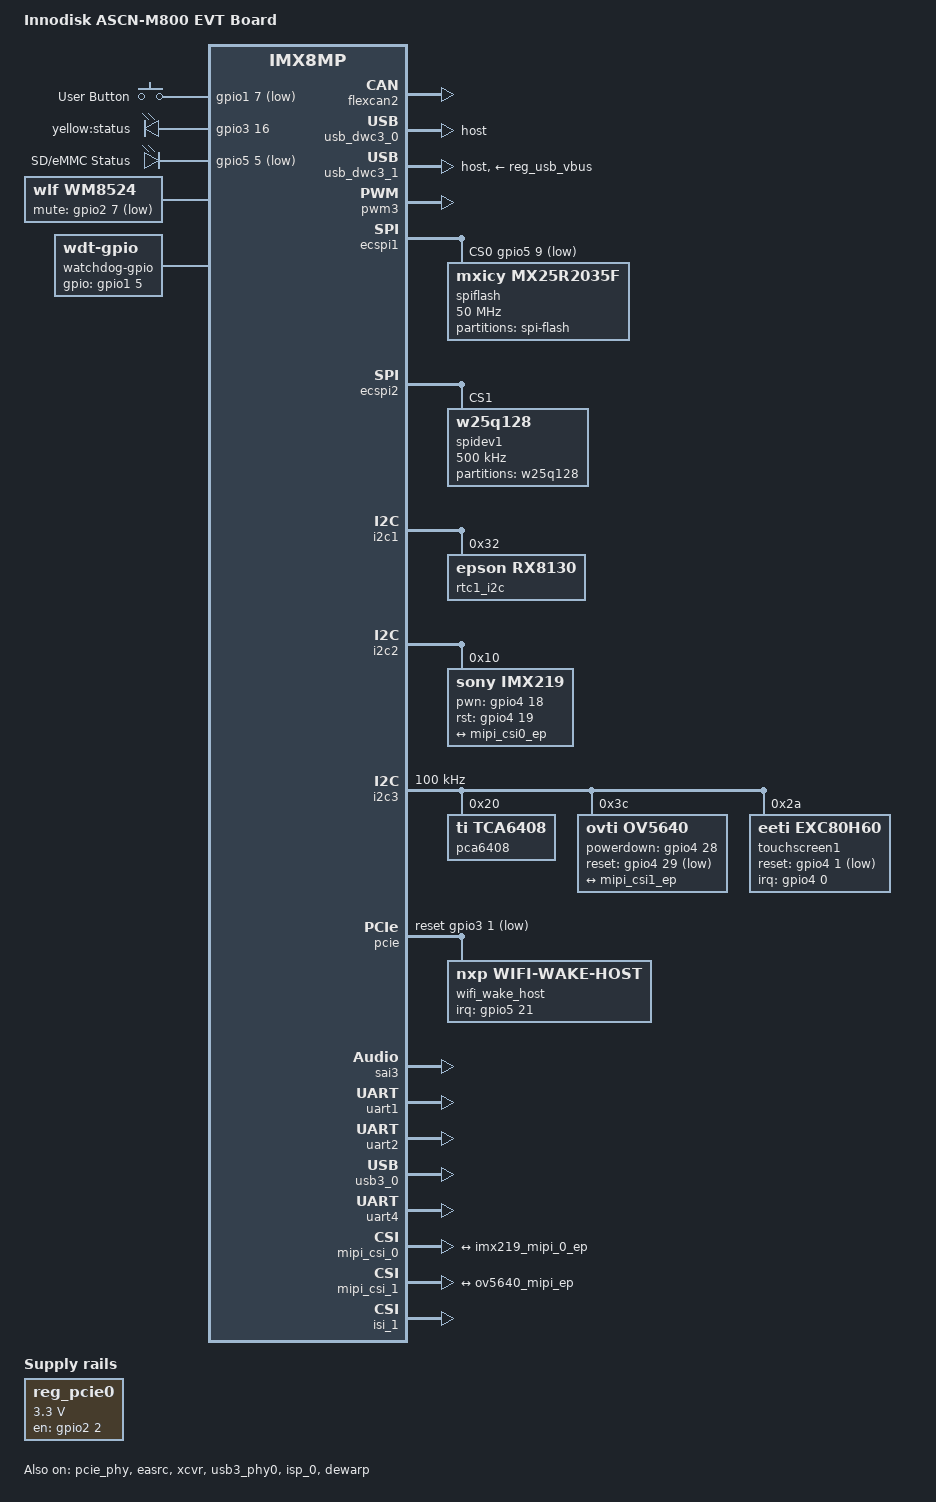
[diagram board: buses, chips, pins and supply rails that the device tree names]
// SPDX-License-Identifier: (GPL-2.0+ OR MIT)

/* Title:    Device Tree for Innodisk ASCN-M800 EVT Custom Board
 * Author:   William Chang
 * Created:  Sep.01.2023, 09:16:15 (UTC+8)
 * Modified: Nov.28.2023, 14:01:33 (UTC+8) 
 */

/dts-v1/;

#include "imx8mp-evk.dts"

/delete-node/&ov5640_0;
// /delete-node/&micfil;
// /delete-node/ &ov5640_1;

/ {
	model = "Innodisk ASCN-M800 EVT Board";
	compatible = "fsl,imx8mp-evk", "fsl,imx8mp";
	// /delete-node/reg_can1_stby;
	// /delete-node/regulator-can1-stby;
	// /delete-node/reg_can2_stby;
	// /delete-node/regulator-can2-stby;
	/delete-node/reg_audio_pwr;
	/delete-node/regulator-audio-pwr;
	/delete-node/sound-bt-sco;
	/delete-node/sound-wm8960;
	/delete-node/sound-micfil;
	/delete-node/cbtl04gp;

	aliases {
		spi1 = &ecspi1;
		spi2 = &ecspi2;
		rtc0 = &snvs_rtc;
		rtc1 = &rtc1_i2c;
		// rtc2 = &rtc2_i2c;
		pwm1 = &pwm1;
		pwm2 = &pwm2;
		pwm3 = &pwm3;
	};

	gpio-keys {
		compatible = "gpio-keys";
		pinctrl-names = "default";
		pinctrl-0 = <&pinctrl_gpio_keys>;

		button-user {
			label = "User Button";
			gpios = <&gpio1 7 GPIO_ACTIVE_LOW>;
			linux,code = <BTN_0>;
			wakeup-source;
		};
	};

	gpio-leds {
		compatible = "gpio-leds";
		pinctrl-names = "default";
		pinctrl-0 = <&pinctrl_gpio_led>;

		status {
			label = "yellow:status";
			gpios = <&gpio3 16 GPIO_ACTIVE_HIGH>;
			
			default-state = "on";
		};

		hdd_led {
			label = "SD/eMMC Status";
            gpios = <&gpio5 5 GPIO_ACTIVE_LOW>;
			linux,default-trigger = "mmc2";
			default-state = "off";
        };
	};

	reg_can1_stby: regulator-can1-stby {
		/delete-property/pinctrl-0;
		/delete-property/gpio;
	};

	reg_can2_stby: regulator-can2-stby {
		/delete-property/pinctrl-0;
		/delete-property/gpio;
	};
	reg_pcie0: regulator-pcie {
		compatible = "regulator-fixed";
		pinctrl-names = "default";
		pinctrl-0 = <&pinctrl_pcie0_reg>;
		regulator-name = "MPCIE_3V3";
		regulator-min-microvolt = <3300000>;
		regulator-max-microvolt = <3300000>;
		gpio = <&gpio2 2 GPIO_ACTIVE_HIGH>;
		enable-active-high;
		regulator-always-on;
	};

	reg_can2_stby: regulator-can2-stby {
		/delete-property/pinctrl-names;
		/delete-property/pinctrl-0;
		/delete-property/gpio;
	};

	reg_usb_vbus: regulator-vbus {
		/delete-property/pinctrl-names;
		/delete-property/pinctrl-0;
		/delete-property/gpio;
	};

	wm8524: wm8524 {
		#sound-dai-cells = <0>;
		compatible = "wlf,wm8524";
		pinctrl-names = "default";
		pinctrl-0 = <&pinctrl_gpio_wlf>;
		wlf,mute-gpios = <&gpio2 7 GPIO_ACTIVE_LOW>; /*Work only with low*/
		clocks = <&clk IMX8MP_CLK_SAI3_ROOT>;
		clock-names = "mclk";
		status = "okay";
	};

	sound-hdmi {
		compatible = "fsl,imx-audio-hdmi";
		model = "audio-hdmi";
		audio-cpu = <&aud2htx>;
		hdmi-out;
		constraint-rate = <44100>,
				<88200>,
				<176400>,
				<32000>,
				<48000>,
				<96000>,
				<192000>;
		status = "okay";
	};

	sound-wm8524 {
		compatible = "fsl,imx-audio-wm8524";
		model = "wm8524-audio";
		audio-cpu = <&sai3>;
		audio-codec = <&wm8524>;
		audio-asrc=	<&easrc>;
		audio-routing =
			"Line Out Jack", "LINEVOUTL",
			"Line Out Jack", "LINEVOUTR";
	};

	

	watchdog-gpio {
		/* TPS3431 */
		pinctrl-names = "default";
		pinctrl-0 = <&pinctrl_watchdog_gpio>;
		compatible = "linux,wdt-gpio";
		// pwms = <&pwm1 0 10 0>;
		always-running;
		gpios =	<&gpio1 5 GPIO_ACTIVE_HIGH>;
		hw_algo = "toggle";
		/* Reset triggers in 2..3 seconds */
		hw_margin_ms = <200>;
		/* Disabled by default */
		status = "okay";
	};
};

&flexspi {
	status = "disabled";
};

&pwm4 {
	status = "disabled";
};

&flexcan2 {
	/delete-property/pinctrl-assert-gpios;
	status = "okay";
};

&sai2 {
	status = "disabled";
};

// &usb3_0 {
// 	fsl,permanently-attached;
// 	status = "okay";
// };

&micfil {
	status = "disabled";
};

&usb_dwc3_0 {
	dr_mode = "host";
	hnp-disable;
	srp-disable;
	adp-disable;
	usb-role-switch;
	role-switch-default-mode = "none";
	snps,dis-u1-entry-quirk;
	snps,dis-u2-entry-quirk;
	status = "okay";

	/delete-node/port;
};

// &usb3_1 {
// 	fsl,permanently-attached;
// 	status = "okay";
// };

&usb_dwc3_1 {
	vbus-supply = <&reg_usb_vbus>;
	dr_mode = "host";
	hnp-disable;
	srp-disable;
	adp-disable;
	usb-role-switch;
	role-switch-default-mode = "none";
	snps,dis-u1-entry-quirk;
	snps,dis-u2-entry-quirk;
	status = "okay";
};

&pwm3 {
	pinctrl-names = "default";
	pinctrl-0 = <&pinctrl_pwm3>;
	status = "okay";
};

&ecspi1 {
	pinctrl-names = "default";
	pinctrl-0 = <&pinctrl_ecspi1>;
	cs-gpios = <&gpio5 9 GPIO_ACTIVE_LOW>;
	status = "okay";

	spiflash: spiflash@0 {
		#address-cells = <1>;
		#size-cells = <1>;
		compatible = "mxicy,mx25r2035f", "jedec,spi-nor";
		spi-max-frequency = <50000000>;
		reg = <0>;
		mode = <1>;

		partition@0{
			reg = <0x0 0x100000>;
			label = "spi-flash";
		};
	};
};

&ecspi2 {
	fsl,spi-num-chipselects = <0>;
	pinctrl-names = "default";
	pinctrl-0 = <&pinctrl_ecspi2>;
	cs-gpios = <&gpio5 13 GPIO_ACTIVE_LOW>;
	status = "okay";

	spidev1: spi@0 {
		#address-cells = <1>;
		#size-cells = <0>;
		reg = <1>;
		compatible = "w25q128", "jedec,spi-nor";
		spi-max-frequency = <500000>;
		mode = <1>;

		partition@0{
			reg = <0x0 0x100000>;
			label = "w25q128";
		};
	};
};

&i2c1 {
	rtc1_i2c: rtc1@32 {
		compatible = "epson,rx8130";
		reg = <0x32>;
	};

	// rtc2_i2c: rtc2@68 {
	// 	compatible = "dallas,ds1337";
	// 	reg = <0x68>;
	// };
};

&i2c2 {
	/delete-node/ov5640_mipi@3c;
	/delete-node/adv_bridge;
	/delete-node/adv7535@3d;
	/delete-node/tcpc@50;
	
	imx219: imx219@10 {
		compatible = "sony,imx219";
		reg = <0x10>;
		pinctrl-names = "default";
		pinctrl-0 = <&pinctrl_csi0_rst> ,<&pinctrl_csi0_pwn>; 
		clocks = <&clk IMX8MP_CLK_IPP_DO_CLKO2>;
		clock-names = "xclk";
		assigned-clocks = <&clk IMX8MP_CLK_IPP_DO_CLKO2>;
		assigned-clock-parents = <&clk IMX8MP_CLK_24M>;
		assigned-clock-rates = <24000000>;
		csi_id = <0>;
		pwn-gpios = <&gpio4 18 GPIO_ACTIVE_HIGH>;
		rst-gpios = <&gpio4 19 GPIO_ACTIVE_HIGH>;
		mclk = <24000000>;
		mclk_source = <0>;
		
		mipi_csi;
		status = "okay";

		port {
			imx219_mipi_0_ep: endpoint {
				remote-endpoint = <&mipi_csi0_ep>;
				data-lanes = <1 2>;
				clock-lanes = <0>;
				clock-noncontinuous;
				link-frequencies = /bits/ 64 <456000000>;
	
			};
		};
	};
};

&i2c3 {
	clock-frequency = <100000>;
	pinctrl-names = "default";
	pinctrl-0 = <&pinctrl_i2c3>;
	status = "okay";

	/delete-node/wm8960@1a;
	/delete-node/pca6416;
	/delete-node/gpio@20;
	/delete-node/ov5640_mipi@3c;

	pca6408: gpio@20 {
		compatible = "ti,tca6408";
		reg = <0x20>;
		gpio-controller;
		#gpio-cells = <2>;
		gpio-line-names = "I2C_GPIO0",
			"I2C_GPIO1",
			"I2C_GPIO2",
			"I2C_GPIO3",
			"I2C_GPIO4",
			"I2C_GPIO5",
			"I2C_GPIO6",
			"I2C_GPIO7";
	};

	ov5640: ov5640_mipi@3c {
		compatible = "ovti,ov5640";
		reg = <0x3c>;
		pinctrl-names = "default";
		pinctrl-0 = <&pinctrl_csi1_pwn>, <&pinctrl_csi1_rst>;
		clocks = <&clk IMX8MP_CLK_IPP_DO_CLKO2>;
		clock-names = "xclk";
		assigned-clocks = <&clk IMX8MP_CLK_IPP_DO_CLKO2>;
		assigned-clock-parents = <&clk IMX8MP_CLK_24M>;
		assigned-clock-rates = <24000000>;
		csi_id = <1>;
		powerdown-gpios = <&gpio4 28 GPIO_ACTIVE_HIGH>;
		reset-gpios = <&gpio4 29 GPIO_ACTIVE_LOW>;
		mclk = <24000000>;
		mclk_source = <0>;
		mipi_csi;
		status = "okay";

		port {
			ov5640_mipi_ep: endpoint {
				remote-endpoint = <&mipi_csi1_ep>;
				data-lanes = <1 2>;
				clock-lanes = <0>;
			};
		};
	};
	

	/* Comment this part for enabling the capacitive touch panel */
	
	// touchscreen0: touchscreen@48 {
	// 	compatible = "ti,tsc2007";
	// 	reg = <0x48>;
	// 	pinctrl-names = "default";
	// 	pinctrl-0 = <&pinctrl_tsc2007>;
	// 	interrupt-parent = <&gpio1>;
	// 	interrupts = <6 IRQ_TYPE_EDGE_FALLING>;
	// 	gpios = <&gpio1 6 GPIO_ACTIVE_LOW>;
	// 	ti,x-plate-ohms = <500>;
	// 	wakeup-source;
	// 	status = "okay";
	// };
	
	/* Uncomment this part for enabling the capacitive touch panel */

	touchscreen1: touchscreen@2a {
		compatible = "eeti,exc80h60";
		pinctrl-names = "default";
		pinctrl-0 = <&pinctrl_ts>;
		reg = <0x2a>;
		interrupt-parent = <&gpio4>;
		interrupts = <0 IRQ_TYPE_EDGE_FALLING>;
		reset-gpio = <&gpio4 1 GPIO_ACTIVE_LOW>;
		status = "okay";
	};
};

/* I2C on expansion connector J22. */
&i2c5 {
	clock-frequency = <100000>; /* Lower clock speed for external bus. */
	pinctrl-names = "default";
	pinctrl-0 = <&pinctrl_i2c5>;
	status = "disabled"; /* can1 pins conflict with i2c5 */

	/* GPIO 2 of PCA6416 is used to switch between CAN1 and I2C5 functions:
	 *     LOW:  CAN1 (default, pull-down)
	 *     HIGH: I2C5
	 * You need to set it to high to enable I2C5 (for example, add gpio-hog
	 * in pca6416 node).
	 */
};

&mipi_dsi {
	status = "disabled";
	/delete-node/port@1;
};

&pcie_phy {
	fsl,refclk-pad-mode = <IMX8_PCIE_REFCLK_PAD_INPUT>;
	clocks = <&pcie0_refclk>;
	clock-names = "ref";
	status = "okay";
};

&pcie {
	pinctrl-names = "default";
	pinctrl-0 = <&pinctrl_pcie0>;
	reset-gpio = <&gpio3 1 GPIO_ACTIVE_LOW>;
	// gpio = <&gpio2 1 GPIO_ACTIVE_HIGH>;
	clocks = <&clk IMX8MP_CLK_HSIO_ROOT>,
		 <&clk IMX8MP_CLK_PCIE_ROOT>,
		 <&clk IMX8MP_CLK_HSIO_AXI>;
	clock-names = "pcie", "pcie_aux", "pcie_bus";
	assigned-clocks = <&clk IMX8MP_CLK_PCIE_AUX>;
	assigned-clock-rates = <10000000>;
	assigned-clock-parents = <&clk IMX8MP_SYS_PLL2_50M>;
	vpcie-supply = <&reg_pcie0>;
	fsl,max-link-speed = <3>;
	status = "okay";

	wifi_wake_host {
		compatible = "nxp,wifi-wake-host";
		interrupt-parent = <&gpio5>;
		interrupts = <21 IRQ_TYPE_LEVEL_LOW>;
		interrupt-names = "host-wake";
	};
};

&pcie_ep{
	pinctrl-names = "default";
	pinctrl-0 = <&pinctrl_pcie0>;
	clocks = <&clk IMX8MP_CLK_HSIO_ROOT>,
		 <&clk IMX8MP_CLK_PCIE_ROOT>,
		 <&clk IMX8MP_CLK_HSIO_AXI>;
	clock-names = "pcie", "pcie_aux", "pcie_bus";
	assigned-clocks = <&clk IMX8MP_CLK_HSIO_AXI>,
			  <&clk IMX8MP_CLK_PCIE_AUX>;
	assigned-clock-rates = <500000000>, <10000000>;
	assigned-clock-parents = <&clk IMX8MP_SYS_PLL2_500M>,
				 <&clk IMX8MP_SYS_PLL2_50M>;
	status = "disabled";
};

&easrc {
	#sound-dai-cells = <0>;
	fsl,asrc-rate  = <48000>;
	status = "okay";
};



&sai3 {
	#sound-dai-cells = <0>;
	pinctrl-names = "default";
	pinctrl-0 = <&pinctrl_sai3>;
	assigned-clocks = <&clk IMX8MP_CLK_SAI3>;
	assigned-clock-parents = <&clk IMX8MP_AUDIO_PLL1_OUT>;
	assigned-clock-rates = <24576000>;
	fsl,sai-mclk-direction-output;
	fsl,sai-asynchronous;
	status = "okay";
};

&xcvr {
	#sound-dai-cells = <0>;
	status = "okay";
};

&sdma2 {
	status = "okay";
};

&uart1 {
	pinctrl-names = "default";
	pinctrl-0 = <&pinctrl_uart1>;
	assigned-clocks = <&clk IMX8MP_CLK_UART1>;
	assigned-clock-parents = <&clk IMX8MP_SYS_PLL1_80M>;
	fsl,uart-has-rtscts;
	status = "okay";
	/delete-node/bluetooth;
	
};

&uart2 {
	/* console */
	pinctrl-names = "default";
	pinctrl-0 = <&pinctrl_uart2>;
	status = "okay";
};

&usb3_phy0 {
	fsl,phy-tx-vref-tune = <0xe>;
	fsl,phy-tx-preemp-amp-tune = <3>;
	fsl,phy-tx-vboost-level = <5>;
	fsl,phy-comp-dis-tune = <7>;
	fsl,pcs-tx-deemph-3p5db = <0x21>;
	fsl,phy-pcs-tx-swing-full = <0x7f>;
	status = "okay";
};

&usb3_0 {
	status = "okay";
};

&uart4 {
	/* console */
	pinctrl-names = "default";
	pinctrl-0 = <&pinctrl_uart4>;
	status = "okay";
};

&gpio1 {
	pinctrl-names = "default";
	pinctrl-0 = <&pinctrl_gpio1>;
	
	status = "okay";
	gpio-line-names = "WDOG_SET", "", "", "",
			  "", "WDOG_EN", "", "User_Button",
			  "EXP_GPIO3", "", "", "",
			  "", "", "EXP_GPIO8", "EXP_GPIO9",
			  "", "", "", "",
			  "", "", "", "",
			  "", "", "", "",
			  "", "", "", "";
};

&gpio3 {
	pinctrl-names = "default";
	pinctrl-0 = <&pinctrl_gpio3>;
	status = "okay";
	gpio-line-names = "", "", "", "",
			  "", "", "", "",
			  "", "", "", "",
			  "", "", "", "",
			  "", "", "", "",
			  "", "EXP_GPIO4", "EXP_GPIO5", "EXP_GPIO6",
			  "EXP_GPIO7", "", "", "",
			  "", "", "", "";
};

&gpio4 {
	pinctrl-names = "default";
	pinctrl-0 = <&pinctrl_gpio4>;
	status = "okay";
	gpio-line-names = "", "", "", "",
			  "", "", "", "",
			  "", "", "", "",
			  "", "", "", "",
			  "", "", "", "",
			  "", "", "", "EXP_GPIO2",
			  "EXP_GPIO0", "EXP_GPIO1", "", "",
			  "", "", "EXP_GPIO10", "";
};

&gpio5 {
	pinctrl-names = "default";
	pinctrl-0 = <&pinctrl_gpio5>;
	status = "okay";
	gpio-line-names = "", "", "", "",
			  "", "", "", "",
			  "", "", "", "",
			  "", "", "", "",
			  "", "", "", "",
			  "", "", "", "",
			  "EXP_GPIO11", "", "", "",
			  "", "", "", "";
	
	gpios = <&gpio5 24 GPIO_ACTIVE_HIGH>;
	enable-active-high;
};

&iomuxc {
	pinctrl-names = "default";
	pinctrl-0 = <&pinctrl_hog>;
	/delete-node/pinctrl_sai3;
	/delete-node/sai3grp;
	// /delete-node/pinctrl_flexcan2;
	// /delete-node/flexcan2grp;
	pinctrl_hog: hoggrp {
		fsl,pins = <
			MX8MP_IOMUXC_HDMI_DDC_SCL__HDMIMIX_HDMI_SCL	0x400001c2
			MX8MP_IOMUXC_HDMI_DDC_SDA__HDMIMIX_HDMI_SDA	0x400001c2
			MX8MP_IOMUXC_HDMI_HPD__HDMIMIX_HDMI_HPD		0x40000010
			MX8MP_IOMUXC_HDMI_CEC__HDMIMIX_HDMI_CEC		0x40000010
			/*
			 * M.2 pin20 & pin21 need to be set to 11 for 88W9098 to select the
			 * default Reference Clock Frequency
			 */
			
		>;
	};

	pinctrl_pwm2: pwm2grp {
		fsl,pins = <
			MX8MP_IOMUXC_GPIO1_IO09__PWM2_OUT		0x116
		>;
	};

	pinctrl_pwm3: pwm3grp {
		fsl,pins = <
			MX8MP_IOMUXC_GPIO1_IO10__PWM3_OUT		0x116
		>;
	};
	
	pinctrl_gpio1: gpio1grp {
		fsl,pins = <
			MX8MP_IOMUXC_GPIO1_IO00__GPIO1_IO00 	0x116
			MX8MP_IOMUXC_GPIO1_IO11__GPIO1_IO11		0x116
			MX8MP_IOMUXC_GPIO1_IO12__GPIO1_IO12		0x146
		>;
	};

    pinctrl_ecspi1: ecspi1grp {
		fsl,pins = <
			MX8MP_IOMUXC_ECSPI1_SCLK__ECSPI1_SCLK		0x10
			MX8MP_IOMUXC_ECSPI1_MOSI__ECSPI1_MOSI		0x10
			MX8MP_IOMUXC_ECSPI1_MISO__ECSPI1_MISO		0x10
		>;
	};

	pinctrl_ecspi1_cs: ecspi1cs {
		fsl,pins = <
			MX8MP_IOMUXC_ECSPI1_SS0__GPIO5_IO09			0x10
		>;
	};

	pinctrl_ecspi2_cs: ecspi2cs {
		fsl,pins = <
			MX8MP_IOMUXC_ECSPI2_SS0__GPIO5_IO13			0x40000
		>;
	};

	// pinctrl_flexcan1: flexcan1grp {
	// 	fsl,pins = <
	// 		MX8MP_IOMUXC_SAI2_TXD0__CAN2_TX        		0x154
	// 		MX8MP_IOMUXC_SAI2_MCLK__CAN2_RX        		0x154
	// 	>;
	// };
	pinctrl_flexcan2: flexcan2grp {
		fsl,pins = <
			MX8MP_IOMUXC_SAI2_TXD0__CAN2_TX        		0x154
			MX8MP_IOMUXC_SAI2_MCLK__CAN2_RX        		0x154
		>;
	};

	pinctrl_gpio_keys: gpio-keysgrp {
		fsl,pins = <
			MX8MP_IOMUXC_GPIO1_IO07__GPIO1_IO07 		0x140
		>;
	};

	// pinctrl_usr_btn: usrbtngrp {
	// 	fsl,pins = <
	// 		MX8MP_IOMUXC_GPIO1_IO07__GPIO1_IO07 	0x140
	// 	>;
	// };

	pinctrl_gpio_led: gpioledgrp {
		fsl,pins = <
			MX8MP_IOMUXC_NAND_READY_B__GPIO3_IO16	0x140
			MX8MP_IOMUXC_SPDIF_EXT_CLK__GPIO5_IO05 	0x140
		>;
	};

	pinctrl_i2c1: i2c1grp {
		fsl,pins = <
			MX8MP_IOMUXC_I2C1_SCL__I2C1_SCL			0x400001c6
			MX8MP_IOMUXC_I2C1_SDA__I2C1_SDA			0x400001c6
		>;
	};

	pinctrl_i2c3: i2c3grp {
		fsl,pins = <
			MX8MP_IOMUXC_I2C3_SCL__I2C3_SCL			0x400001c2
			MX8MP_IOMUXC_I2C3_SDA__I2C3_SDA			0x400001c2
		>;
	};

	// pinctrl_lvds0_reg: lvds0reggrp {
	// 	fsl,pins = <
	// 		MX8MP_IOMUXC_GPIO1_IO13__GPIO1_IO13		0x40
	// 	>;
	// };

	pinctrl_pcie0: pcie0grp {
		fsl,pins = <
			MX8MP_IOMUXC_I2C4_SCL__PCIE_CLKREQ_B	0x60 /* open drain, pull up */
			/*
			MX8MP_IOMUXC_SD1_CMD__GPIO2_IO01       	0x40
			*/
			MX8MP_IOMUXC_I2C4_SDA__GPIO5_IO21		0x1c4
			MX8MP_IOMUXC_NAND_CE0_B__GPIO3_IO01		0x1c0
		>;
	};

	pinctrl_pcie0_reg: pcie0reggrp {
		fsl,pins = <
			MX8MP_IOMUXC_SD1_DATA0__GPIO2_IO02	0x40
		>;
	};

	pinctrl_pmic: pmicgrp {
		fsl,pins = <
			MX8MP_IOMUXC_GPIO1_IO03__GPIO1_IO03	0x000001c0
		>;
	};
	pinctrl_gpio_wlf: gpiowlfgrp {
		fsl,pins = <
			MX8MP_IOMUXC_SD1_DATA5__GPIO2_IO07				0xd6
		>;
	};
	
	pinctrl_sai3: sai3grp {
		fsl,pins = <
			MX8MP_IOMUXC_SAI3_TXFS__AUDIOMIX_SAI3_TX_SYNC	0xd6
			MX8MP_IOMUXC_SAI3_TXC__AUDIOMIX_SAI3_TX_BCLK	0xd6
			MX8MP_IOMUXC_SAI3_TXD__AUDIOMIX_SAI3_TX_DATA00	0xd6
			MX8MP_IOMUXC_SAI3_MCLK__AUDIOMIX_SAI3_MCLK		0xd6
		>;
	};

	pinctrl_i2c2_synaptics_dsx_io: synaptics_dsx_iogrp {
		fsl,pins = <
			MX8MP_IOMUXC_SD2_WP__GPIO2_IO20		0x16
		>;
	};

	pinctrl_tsc2007: tsc2007grp {
		fsl,pins = <
		MX8MP_IOMUXC_GPIO1_IO06__GPIO1_IO06 0x10 /* Interrupt */
		>;
  	};

	pinctrl_ts: tsgrp {
		fsl,pins = <
			MX8MP_IOMUXC_SAI1_RXFS__GPIO4_IO00		0x16
			MX8MP_IOMUXC_SAI1_RXC__GPIO4_IO01 		0x10
		>;
	};

	pinctrl_uart1: uart1grp {
		fsl,pins = <
			MX8MP_IOMUXC_UART1_RXD__UART1_DCE_RX	0x140
			MX8MP_IOMUXC_UART1_TXD__UART1_DCE_TX	0x140
			MX8MP_IOMUXC_UART3_RXD__UART1_DCE_CTS	0x140
			MX8MP_IOMUXC_UART3_TXD__UART1_DCE_RTS	0x140
		>;
	};

	pinctrl_uart2: uart2grp {
		fsl,pins = <
			MX8MP_IOMUXC_SD1_DATA3__UART2_DCE_RX	0x140
			MX8MP_IOMUXC_SD1_DATA2__UART2_DCE_TX	0x140
		>;
	};

	pinctrl_uart3: uart3grp {
		fsl,pins = <
			MX8MP_IOMUXC_SD1_DATA6__UART3_DCE_TX		0x140
			MX8MP_IOMUXC_SD1_DATA7__UART3_DCE_RX 		0x140
			MX8MP_IOMUXC_SD1_RESET_B__UART3_DCE_RTS		0x140
			MX8MP_IOMUXC_SD1_STROBE__UART3_DCE_CTS		0x140
		>;
	};

	pinctrl_uart4: uart4grp {
		fsl,pins = <
			MX8MP_IOMUXC_UART4_RXD__UART4_DCE_RX	0x140
			MX8MP_IOMUXC_UART4_TXD__UART4_DCE_TX	0x140
		>;
	};

	pinctrl_csi0_pwn: csi0_pwn_grp {
		fsl,pins = <
			MX8MP_IOMUXC_SAI1_TXD6__GPIO4_IO18		0x10
		>;
	};

	pinctrl_csi0_rst: csi0_rst_grp {
		fsl,pins = <	
			MX8MP_IOMUXC_SAI1_TXD7__GPIO4_IO19		0x10
		>;
	};

	pinctrl_csi1_pwn: csi1_pwn_grp {
		fsl,pins = <
			MX8MP_IOMUXC_SAI3_RXFS__GPIO4_IO28		0x10
		>;
	};

	pinctrl_csi1_rst: csi1_rst_grp {
		fsl,pins = <
			
			MX8MP_IOMUXC_SAI3_RXC__GPIO4_IO29		0x10
		>;
	};
	
	pinctrl_csi_mclk: csi_mclk_grp {
		fsl,pins = <
			MX8MP_IOMUXC_GPIO1_IO15__CCM_CLKO2	0x50
		>;
	};


	/*self-made-part*/
	pinctrl_gpio1: gpio1grp {
		fsl,pins = <
			MX8MP_IOMUXC_GPIO1_IO08__GPIO1_IO08				0x16
			MX8MP_IOMUXC_GPIO1_IO14__GPIO1_IO14				0x16
			MX8MP_IOMUXC_GPIO1_IO15__GPIO1_IO15				0x16
		>;
	};

	pinctrl_gpio2: gpio2grp {
		fsl,pins = <
			MX8MP_IOMUXC_SD1_CLK__GPIO2_IO00				0x140
		>;
	};

	pinctrl_gpio3: gpio3grp {
		fsl,pins = <
			MX8MP_IOMUXC_NAND_ALE__GPIO3_IO00				0x10
			MX8MP_IOMUXC_NAND_DATA00__GPIO3_IO06			0x10
			MX8MP_IOMUXC_NAND_DATA01__GPIO3_IO07			0x10
			MX8MP_IOMUXC_NAND_DATA02__GPIO3_IO08			0x10
			MX8MP_IOMUXC_NAND_DATA03__GPIO3_IO09			0x10
			MX8MP_IOMUXC_SAI5_RXC__GPIO3_IO20 				0x10
			MX8MP_IOMUXC_SAI5_RXFS__GPIO3_IO19				0x10
			MX8MP_IOMUXC_SAI5_MCLK__GPIO3_IO25				0x10

			MX8MP_IOMUXC_SAI5_RXD0__GPIO3_IO21				0x16
			MX8MP_IOMUXC_SAI5_RXD1__GPIO3_IO22				0x16
			MX8MP_IOMUXC_SAI5_RXD2__GPIO3_IO23				0x16
			MX8MP_IOMUXC_SAI5_RXD3__GPIO3_IO24				0x16

		>;
	};

	pinctrl_gpio4: gpio4grp {
		fsl,pins = <
			MX8MP_IOMUXC_SAI2_TXFS__GPIO4_IO24				0x16
			MX8MP_IOMUXC_SAI2_TXC__GPIO4_IO25				0x16
			MX8MP_IOMUXC_SAI2_RXD0__GPIO4_IO23				0x16
			MX8MP_IOMUXC_SAI3_RXD__GPIO4_IO30				0x16
		>;
	};

	pinctrl_gpio5: gpio5grp {
		fsl,pins = <
			MX8MP_IOMUXC_UART2_RXD__GPIO5_IO24				0x19
		>;
	};

	pinctrl_watchdog_gpio: watchdog-gpio-grp {
		fsl,pins = <
			/* WDOG_B# */
			MX8MP_IOMUXC_GPIO1_IO02__WDOG1_WDOG_B		0x26
			/* WDOG_EN */
			MX8MP_IOMUXC_GPIO1_IO05__GPIO1_IO05			0x16
			/* WDOG_SET -- ungate WDT RESET# signal propagation */
			MX8MP_IOMUXC_GPIO1_IO00__GPIO1_IO00			0x16
			/* WDOG_PWM 
			MX8MP_IOMUXC_GPIO1_IO01__PWM1_OUT			0x116*/
		>;
	};
};

&mipi_csi_0 { 

    port@0 {
        mipi_csi0_ep: endpoint {
         	remote-endpoint = <&imx219_mipi_0_ep>;
        };
    };

};

&mipi_csi_1 {
	status = "okay";
    port@1 {
		reg = <1>;
		mipi_csi1_ep: endpoint {
			remote-endpoint = <&ov5640_mipi_ep>;
			data-lanes = <2>;
			csis-hs-settle = <13>;
			csis-clk-settle = <2>;
			csis-wclk;
		};
	};

};
// &mipi_csi_1 { 

//     port@1 {
//         mipi_csi1_ep: endpoint {
//          	remote-endpoint = <&imx219_mipi_1_ep>;
//         };
//     };

// };

// &cameradev {
//         /delete-node/ mipi_csi_1;
// };

&isi_0 {
	status = "disabled";
};

&isi_1 {
	status = "okay";

	cap_device {
		status = "okay";
	};

	m2m_device {
		status = "okay";
	};
};

&isp_0 {
	status = "okay";
};

// &isp_1 {
// 	status = "okay";

// 	m2m_device {
// 		status = "okay";
// 	};
// };

&dewarp {
	status = "okay";
};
